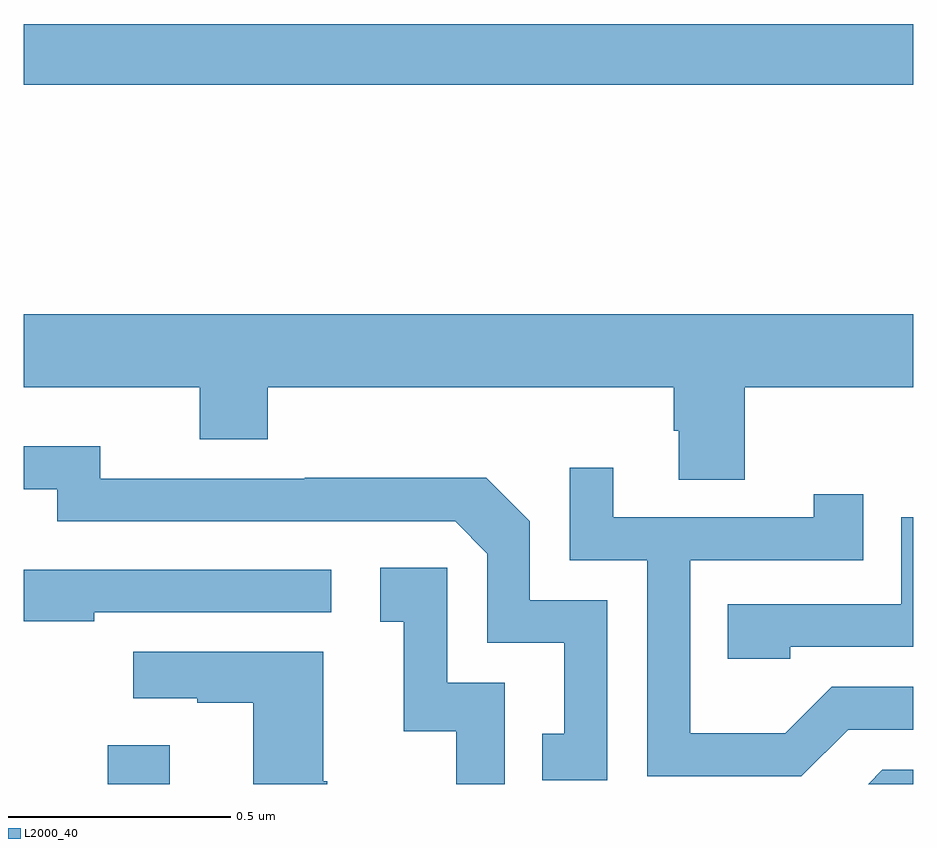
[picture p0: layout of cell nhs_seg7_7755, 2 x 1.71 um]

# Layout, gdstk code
import gdstk
lib = gdstk.Library(unit=1e-6, precision=1e-09)
def R(c, l, rs):  # rectangles x0, y0, x1, y1
    for r in rs: c.add(gdstk.rectangle(r[:2], r[2:], *l))
def P(c, l, *ps):  # polygons
    for p in ps: c.add(gdstk.Polygon(p, *l))
L2000_40 = (2000, 40)

nhs_seg7_7755 = lib.new_cell('nhs_seg7_7755')
R(nhs_seg7_7755, L2000_40, [(215.189,1057,215.329,1057.087), (215,1058.572,217,1058.708)])
P(nhs_seg7_7755, L2000_40, [(216.621,1057.892),(217,1057.892),(217,1058.056),(215,1058.056),(215,1057.892),(215.396,1057.892),(215.396,1057.775),(215.549,1057.775),(215.549,1057.892),(216.461,1057.892),(216.461,1057.794),(216.473,1057.794),(216.473,1057.684),(216.621,1057.684)],
  [(216.312,1057.413),(216.138,1057.413),(216.138,1057.59),(216.04,1057.688),(215.632,1057.688),(215.632,1057.686),(215.172,1057.686),(215.172,1057.759),(215,1057.759),(215,1057.662),(215.076,1057.662),(215.076,1057.59),(215.97,1057.59),(216.042,1057.518),(216.042,1057.317),(216.215,1057.317),(216.215,1057.113),(216.166,1057.113),(216.166,1057.008),(216.312,1057.008)],
  [(216.853,1057.122),(217,1057.122),(217,1057.218),(216.816,1057.218),(216.712,1057.114),(216.498,1057.114),(216.498,1057.503),(216.887,1057.503),(216.887,1057.651),(216.776,1057.651),(216.776,1057.599),(216.325,1057.599),(216.325,1057.711),(216.228,1057.711),(216.228,1057.503),(216.402,1057.503),(216.402,1057.017),(216.748,1057.017)],
  [(216.723,1057.308),(217,1057.308),(217,1057.599),(216.972,1057.599),(216.972,1057.404),(216.583,1057.404),(216.583,1057.281),(216.723,1057.281)],
  [(216.081,1057.227),(215.952,1057.227),(215.952,1057.486),(215.802,1057.486),(215.802,1057.365),(215.855,1057.365),(215.855,1057.119),(215.973,1057.119),(215.973,1057),(216.081,1057)],
  [(215.159,1057.386),(215.692,1057.386),(215.692,1057.482),(215,1057.482),(215,1057.366),(215.159,1057.366)],
  [(215.682,1057.006),(215.674,1057.006),(215.674,1057.297),(215.247,1057.297),(215.247,1057.193),(215.39,1057.193),(215.39,1057.183),(215.516,1057.183),(215.516,1057),(215.682,1057)],
  [(217,1057.032),(216.93,1057.032),(216.898,1057),(217,1057)])

lib.write_gds('nhs_seg7_7755.gds')
